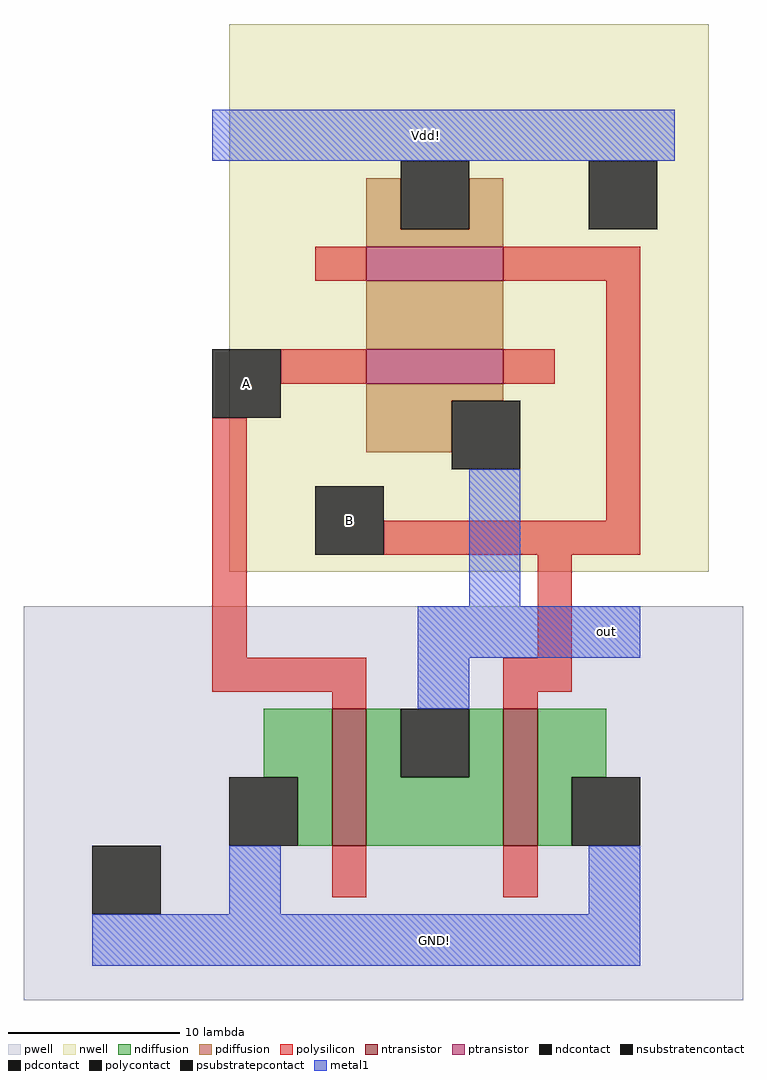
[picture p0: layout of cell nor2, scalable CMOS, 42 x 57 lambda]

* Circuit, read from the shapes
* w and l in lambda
.subckt nor2 A B GND! Vdd! out
M1 out A GND! GND! nfet w=8 l=2
M2 GND! B out GND! nfet w=8 l=2
M3 n1 A out Vdd! pfet w=8 l=2
M4 Vdd! B n1 Vdd! pfet w=8 l=2
.ends

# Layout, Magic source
magic
tech scmos
<< nwell >>
rect 18 15 46 47
<< pwell >>
rect 6 -10 48 13
<< ntransistor >>
rect 24 -1 26 7
rect 34 -1 36 7
<< ptransistor >>
rect 26 32 34 34
rect 26 26 34 28
<< ndiffusion >>
rect 20 3 24 7
rect 22 -1 24 3
rect 26 3 28 7
rect 32 3 34 7
rect 26 -1 34 3
rect 36 3 40 7
rect 36 -1 38 3
<< pdiffusion >>
rect 26 35 28 38
rect 32 35 34 38
rect 26 34 34 35
rect 26 28 34 32
rect 26 25 34 26
rect 26 22 31 25
<< ndcontact >>
rect 18 -1 22 3
rect 28 3 32 7
rect 38 -1 42 3
<< pdcontact >>
rect 28 35 32 39
rect 31 21 35 25
<< psubstratepcontact >>
rect 10 -5 14 -1
<< nsubstratencontact >>
rect 39 35 43 39
<< polysilicon >>
rect 23 32 26 34
rect 34 32 42 34
rect 21 26 26 28
rect 34 26 37 28
rect 17 10 19 24
rect 40 18 42 32
rect 27 16 42 18
rect 36 10 38 16
rect 17 8 26 10
rect 24 7 26 8
rect 34 8 38 10
rect 34 7 36 8
rect 24 -4 26 -1
rect 34 -4 36 -1
<< polycontact >>
rect 17 24 21 28
rect 23 16 27 20
<< metal1 >>
rect 17 39 44 42
rect 32 13 35 21
rect 29 10 42 13
rect 29 7 32 10
rect 18 -5 21 -1
rect 39 -5 42 -1
rect 10 -8 42 -5
<< labels >>
rlabel metal1 18 -8 42 -5 5 GND!
rlabel metal1 17 39 42 42 1 Vdd!
rlabel polycontact 17 24 21 28 7 A
rlabel polycontact 23 16 27 20 7 B
rlabel metal1 38 10 42 13 3 out
<< end >>
